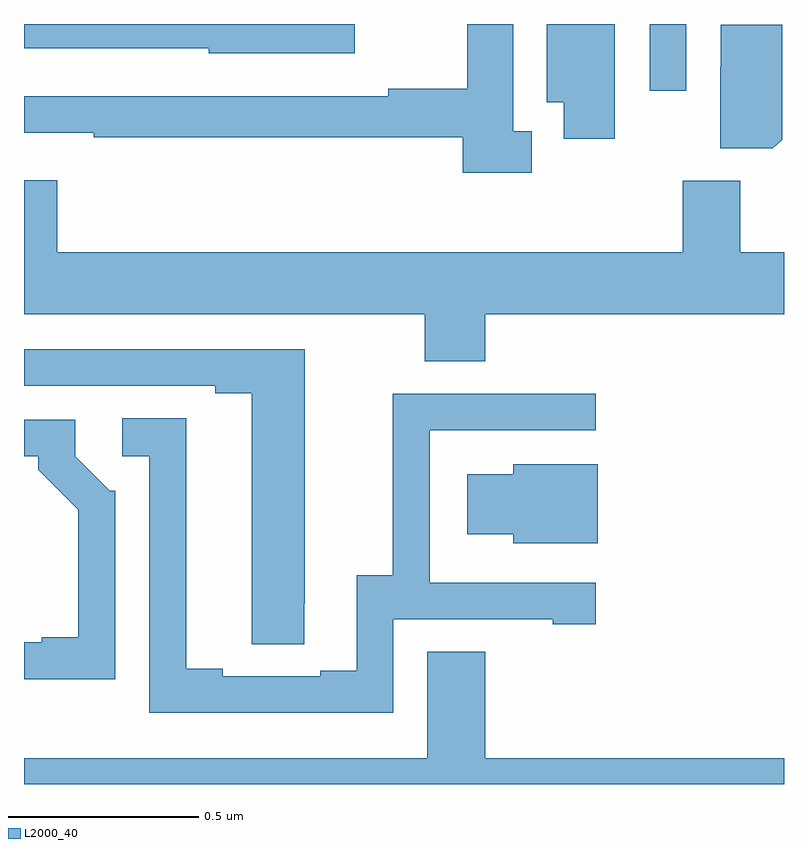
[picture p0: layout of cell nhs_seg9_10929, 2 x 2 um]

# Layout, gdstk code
import gdstk
lib = gdstk.Library(unit=1e-6, precision=1e-09)
def R(c, l, rs):  # rectangles x0, y0, x1, y1
    for r in rs: c.add(gdstk.rectangle(r[:2], r[2:], *l))
def P(c, l, *ps):  # polygons
    for p in ps: c.add(gdstk.Polygon(p, *l))
L2000_40 = (2000, 40)

nhs_seg9_10929 = lib.new_cell('nhs_seg9_10929')
R(nhs_seg9_10929, L2000_40, [(250.647,1214.325,250.743,1214.5)])
P(nhs_seg9_10929, L2000_40, [(250.336,1214.218),(250.288,1214.218),(250.288,1214.5),(250.166,1214.5),(250.166,1214.33),(249.958,1214.33),(249.958,1214.31),(249,1214.31),(249,1214.214),(249.184,1214.214),(249.184,1214.202),(250.154,1214.202),(250.154,1214.108),(250.336,1214.108)],
  [(250.555,1214.5),(250.376,1214.5),(250.376,1214.294),(250.421,1214.294),(250.421,1214.198),(250.555,1214.198)],
  [(249.871,1214.5),(249,1214.5),(249,1214.436),(249.486,1214.436),(249.486,1214.423),(249.871,1214.423)],
  [(250.995,1214.196),(250.995,1214.498),(250.833,1214.498),(250.833,1214.387),(250.832,1214.387),(250.832,1214.173),(250.971,1214.173)],
  [(250.214,1213.736),(251,1213.736),(251,1213.9),(250.885,1213.9),(250.885,1214.088),(250.733,1214.088),(250.733,1213.9),(249.088,1213.9),(249.088,1214.089),(249,1214.089),(249,1213.736),(250.054,1213.736),(250.054,1213.612),(250.214,1213.612)],
  [(249.738,1212.976),(249.739,1212.976),(249.739,1213.644),(249,1213.644),(249,1213.548),(249.503,1213.548),(249.503,1213.528),(249.599,1213.528),(249.599,1212.868),(249.738,1212.868)],
  [(249.972,1212.933),(250.391,1212.933),(250.391,1212.921),(250.504,1212.921),(250.504,1213.029),(250.068,1213.029),(250.068,1213.431),(250.504,1213.431),(250.504,1213.527),(249.97,1213.527),(249.97,1213.049),(249.875,1213.049),(249.875,1212.798),(249.779,1212.798),(249.779,1212.783),(249.523,1212.783),(249.523,1212.803),(249.427,1212.803),(249.427,1213.463),(249.258,1213.463),(249.258,1213.362),(249.33,1213.362),(249.33,1212.687),(249.972,1212.687)],
  [(249.24,1213.272),(249.225,1213.272),(249.135,1213.362),(249.135,1213.458),(249,1213.458),(249,1213.362),(249.038,1213.362),(249.038,1213.327),(249.143,1213.222),(249.143,1212.886),(249.047,1212.886),(249.047,1212.873),(249,1212.873),(249,1212.776),(249.24,1212.776)],
  [(250.51,1213.342),(250.287,1213.342),(250.287,1213.315),(250.166,1213.315),(250.166,1213.157),(250.287,1213.157),(250.287,1213.133),(250.51,1213.133)],
  [(251,1212.568),(250.214,1212.568),(250.214,1212.848),(250.061,1212.848),(250.061,1212.568),(249,1212.568),(249,1212.5),(251,1212.5)])

lib.write_gds('nhs_seg9_10929.gds')
